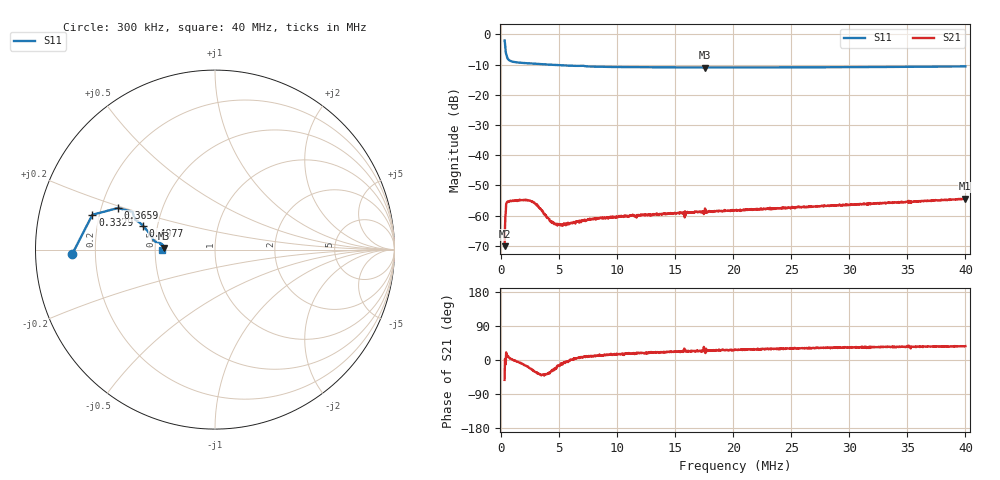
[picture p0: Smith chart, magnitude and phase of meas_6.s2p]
# HZ S RI R 50
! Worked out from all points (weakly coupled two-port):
!   1206 points, 300 kHz to 40 MHz, reference 50 ohm
!   highest |S21| = -54.37 dB at 39.97 MHz (marker M1); lowest = -70.1 dB at 300 kHz (marker M2)
!   lowest |S11| = -11.0 dB at 17.53 MHz (marker M3), VSWR 1.79, Z = 27.9 + j0.59 ohm
!   |S11| at or under -10 dB: 4.185 MHz to end of sweep
!   S12 and S22 are empty: the file has one direction only
!   S11 on the Smith chart (normalised r, x): 300 kHz: 0.11, -0.02; 332.9 kHz: 0.17, +0.14; 365.9 kHz: 0.27, +0.19; 497.7 kHz: 0.41, +0.14; 40 MHz: 0.54, -0.00
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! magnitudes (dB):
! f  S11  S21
! 300 kHz  -2.0  -70.1
! 332.9 kHz  -3.0  -63.8
! 365.9 kHz  -4.6  -60.3
! 497.7 kHz  -7.5  -55.6
! 530.6 kHz  -7.8  -55.4
! 563.6 kHz  -8.0  -55.3
! 662.4 kHz  -8.4  -55.3
! 1.124 MHz  -9.1  -55.0
! 2.31 MHz  -9.5  -54.9
! 2.969 MHz  -9.7  -56.2
! 4.155 MHz  -10.0  -61.1
! 4.649 MHz  -10.1  -62.7
! 5.374 MHz  -10.3  -62.8
! 6.922 MHz  -10.4  -61.8
! 8.537 MHz  -10.7  -60.6
! 13.54 MHz  -10.9  -59.6
! 17.53 MHz  -11.0  -58.8
! 20.17 MHz  -10.9  -58.1
! 26.79 MHz  -10.9  -57.0
! 33.41 MHz  -10.8  -55.8
! 39.97 MHz  -10.6  -54.4
! 40 MHz  -10.6  -54.5
